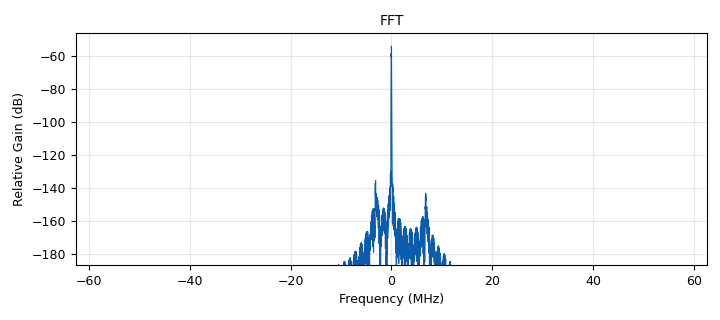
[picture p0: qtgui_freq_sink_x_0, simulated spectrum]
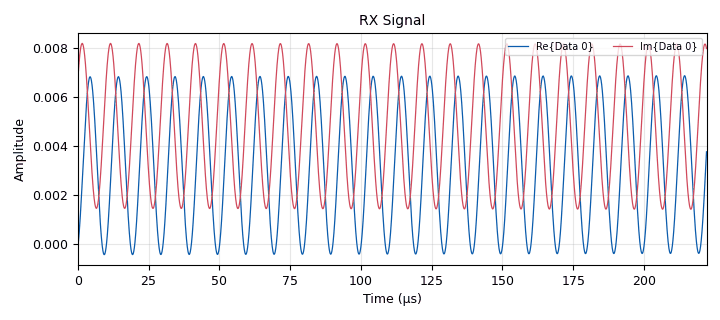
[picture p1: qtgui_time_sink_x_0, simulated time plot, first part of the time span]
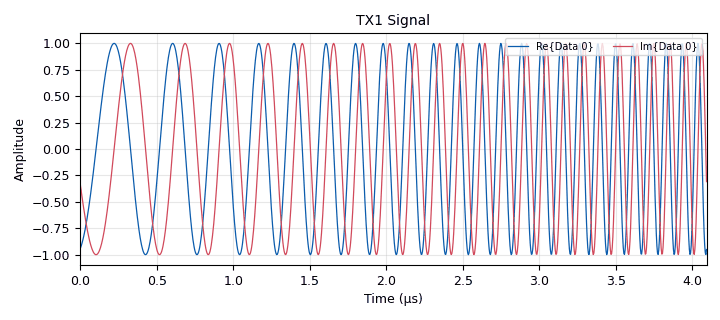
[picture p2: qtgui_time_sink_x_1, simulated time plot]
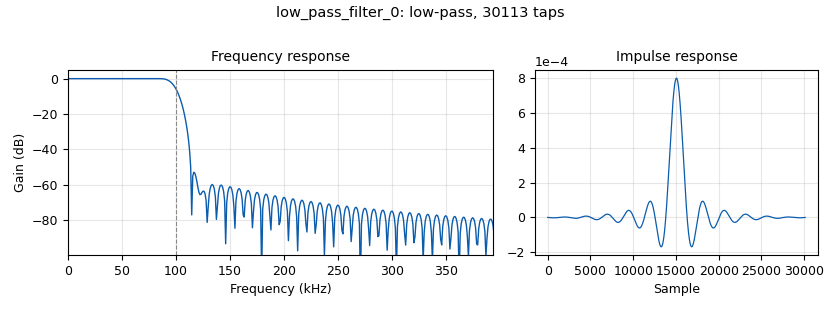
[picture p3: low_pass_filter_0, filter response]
options:
  parameters:
    author: haocheng
    generate_options: qt_gui
    id: FMCW_Sim
    output_language: python
    title: FMCW_Simulation
  states: {}

blocks:
- name: SweepTime
  id: variable
  parameters:
    comment: FMCW sweep time, frequency=1/sweeptime
    value: '1e-5'
  states: {}
- name: USRP_frequency
  id: variable
  parameters:
    value: 5e9
  states: {}
- name: bandwidth
  id: variable
  parameters:
    value: 125e6
  states: {}
- name: samp_rate
  id: variable
  parameters:
    value: 250e6
  states: {}
- name: analog_sig_source_x_0
  id: analog_sig_source_x
  parameters:
    amp: '1'
    freq: 1/SweepTime
    offset: '0'
    phase: '0'
    samp_rate: samp_rate
    type: float
    waveform: analog.GR_SAW_WAVE
  states: {}
- name: blocks_delay_0
  id: blocks_delay
  parameters:
    comment: |-
      delay = 2R/c * Fs
      17 = 10m
    delay: '1700'
    type: complex
  states: {}
- name: blocks_head_0
  id: blocks_head
  parameters:
    comment: N_head = T_capture * Fs
    num_items: '25000000'
    type: complex
  states: {}
- name: blocks_multiply_conjugate_cc_0
  id: blocks_multiply_conjugate_cc
  parameters: {}
  states: {}
- name: blocks_skiphead_0
  id: blocks_skiphead
  parameters:
    comment: N_skip = T_stable * Fs
    num_items: '10000000'
    type: complex
  states: {}
- name: blocks_throttle_0
  id: blocks_throttle
  parameters:
    samples_per_second: samp_rate*0.1
    type: complex
  states: {}
- name: blocks_vco_c_0
  id: blocks_vco_c
  parameters:
    amplitude: '1'
    comment: |-
      sensitivity=Bandwidth/V_max-V_min
      V_max = signal Amplitude
      V_min = V_max - offset
    samp_rate: samp_rate
    sensitivity: bandwidth/1
  states: {}
- name: low_pass_filter_0
  id: low_pass_filter
  parameters:
    beta: '6'
    comment: cutoff frequency = 2BR_max / c T_sweep
    cutoff_freq: '100000'
    decim: '1'
    gain: '1'
    samp_rate: samp_rate
    type: fir_filter_ccf
    width: '20000'
    win: firdes.WIN_HAMMING
  states: {}
- name: qtgui_freq_sink_x_0
  id: qtgui_freq_sink_x
  parameters:
    autoscale: 'True'
    bw: bandwidth
    fc: '0'
    fftsize: 1024*8
    grid: 'True'
    name: '"FFT"'
    type: complex
    wintype: firdes.WIN_BLACKMAN_hARRIS
  states: {}
- name: qtgui_time_sink_x_0
  id: qtgui_time_sink_x
  parameters:
    autoscale: 'True'
    name: '"RX Signal"'
    size: '102400'
    srate: samp_rate
    type: complex
  states: {}
- name: qtgui_time_sink_x_1
  id: qtgui_time_sink_x
  parameters:
    autoscale: 'True'
    name: '"TX1 Signal"'
    size: '1024'
    srate: samp_rate
    type: complex
  states: {}

connections:
- [analog_sig_source_x_0, '0', blocks_vco_c_0, '0']
- [blocks_delay_0, '0', blocks_multiply_conjugate_cc_0, '1']
- [blocks_head_0, '0', low_pass_filter_0, '0']
- [blocks_multiply_conjugate_cc_0, '0', blocks_throttle_0, '0']
- [blocks_skiphead_0, '0', blocks_head_0, '0']
- [blocks_throttle_0, '0', blocks_skiphead_0, '0']
- [blocks_vco_c_0, '0', blocks_delay_0, '0']
- [blocks_vco_c_0, '0', blocks_multiply_conjugate_cc_0, '0']
- [blocks_vco_c_0, '0', qtgui_time_sink_x_1, '0']
- [low_pass_filter_0, '0', qtgui_freq_sink_x_0, '0']
- [low_pass_filter_0, '0', qtgui_time_sink_x_0, '0']

metadata:
  file_format: 1
